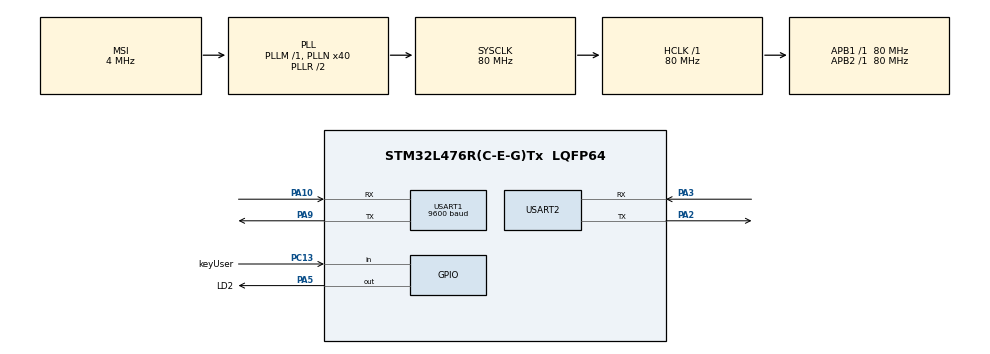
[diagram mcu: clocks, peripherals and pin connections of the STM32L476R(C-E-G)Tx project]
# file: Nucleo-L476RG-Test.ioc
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ADC1.Channel-0\#ChannelRegularConversion=ADC_CHANNEL_TEMPSENSOR
ADC1.ClockPrescaler=ADC_CLOCK_ASYNC_DIV1
ADC1.ContinuousConvMode=ENABLE
ADC1.DMAContinuousRequests=ENABLE
ADC1.DataAlign=ADC_DATAALIGN_RIGHT
ADC1.DiscontinuousConvMode=DISABLE
ADC1.EOCSelection=ADC_EOC_SINGLE_CONV
ADC1.EnableAnalogWatchDog1=false
ADC1.EnableAnalogWatchDog2=false
ADC1.EnableAnalogWatchDog3=false
ADC1.EnableInjectedConversion=DISABLE
ADC1.EnableRegularConversion=ENABLE
ADC1.ExternalTrigConv=ADC_SOFTWARE_START
ADC1.ExternalTrigConvEdge=ADC_EXTERNALTRIGCONVEDGE_NONE
ADC1.LowPowerAutoWait=DISABLE
ADC1.NbrOfConversion=1
ADC1.NbrOfConversionFlag=1
ADC1.OffsetNumber-0\#ChannelRegularConversion=ADC_OFFSET_NONE
ADC1.Overrun=ADC_OVR_DATA_PRESERVED
ADC1.OversamplingMode=DISABLE
ADC1.Rank-0\#ChannelRegularConversion=1
ADC1.Resolution=ADC_RESOLUTION_12B
ADC1.SamplingTime-0\#ChannelRegularConversion=ADC_SAMPLETIME_47CYCLES_5
ADC1.ScanConvMode=ADC_SCAN_DISABLE
ADC1.master=1
Dma.ADC1.0.Direction=DMA_PERIPH_TO_MEMORY
Dma.ADC1.0.Instance=DMA1_Channel1
Dma.ADC1.0.MemDataAlignment=DMA_MDATAALIGN_HALFWORD
Dma.ADC1.0.MemInc=DMA_MINC_DISABLE
Dma.ADC1.0.Mode=DMA_CIRCULAR
Dma.ADC1.0.PeriphDataAlignment=DMA_PDATAALIGN_HALFWORD
Dma.ADC1.0.PeriphInc=DMA_PINC_DISABLE
Dma.ADC1.0.Priority=DMA_PRIORITY_LOW
Dma.Request0=ADC1
Mcu.Family=STM32L4
Mcu.Name=STM32L476R(C-E-G)Tx
Mcu.Package=LQFP64
NVIC.DMA1_Channel1_IRQn=true\:0\:0\:false\:false\:true
NVIC.PriorityGroup=NVIC_PRIORITYGROUP_4
NVIC.TIM6_DAC_IRQn=true\:0\:0\:false\:false\:true
NVIC.TIM7_IRQn=true\:0\:0\:false\:false\:true
NVIC.USART1_IRQn=true\:0\:0\:false\:false\:true
PA10.Mode=Asynchronous
PA10.Signal=USART1_RX
PA2.Mode=Asynchronous
PA2.Signal=USART2_TX
PA3.Mode=Asynchronous
PA3.Signal=USART2_RX
PA5.GPIO_Label=LD2
PA5.GPIO_Speed=GPIO_SPEED_FREQ_VERY_HIGH
PA5.Signal=GPIO_Output
PA9.Mode=Asynchronous
PA9.Signal=USART1_TX
PC13.GPIO_Label=keyUser
PC13.GPIO_PuPd=GPIO_PULLUP
PC13.Signal=GPIO_Input
ProjectManager.HeapSize=0x4000
ProjectManager.StackSize=0x4000
ProjectManager.TargetToolchain=EWARM
RCC.ADCFreq_Value=32000000
RCC.AHBFreq_Value=80000000
RCC.APB1Freq_Value=80000000
RCC.APB1TimFreq_Value=80000000
RCC.APB2Freq_Value=80000000
RCC.APB2TimFreq_Value=80000000
RCC.CortexFreq_Value=80000000
RCC.HCLKFreq_Value=80000000
RCC.HSE_VALUE=8000000
RCC.HSI_VALUE=16000000
RCC.LSE_VALUE=32768
RCC.MSI_VALUE=4000000
RCC.PLLN=40
RCC.PLLSAI1N=16
RCC.SYSCLKFreq_VALUE=80000000
RCC.SYSCLKSource=RCC_SYSCLKSOURCE_PLLCLK
RCC.USBFreq_Value=32000000
RCC.VCOOutputFreq_Value=160000000
TIM6.Period=999
TIM6.Prescaler=79
TIM7.Period=999
TIM7.Prescaler=79
USART1.BaudRate=9600
USART1.WordLength=UART_WORDLENGTH_8B
USART2.WordLength=UART_WORDLENGTH_8B
VP_ADC1_TempSens_Input.Mode=IN-TempSens
VP_TIM6_VS_ClockSourceINT.Mode=Enable_Timer
VP_TIM7_VS_ClockSourceINT.Mode=Enable_Timer
board=Nucleo-L476RG-Test

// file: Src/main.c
/**
  ******************************************************************************
  * File Name          : main.c
  * Description        : Main program body
  ******************************************************************************
  *
  * COPYRIGHT(c) 2017 STMicroelectronics
  *
  * Redistribution and use in source and binary forms, with or without modification,
  * are permitted provided that the following conditions are met:
  *   1. Redistributions of source code must retain the above copyright notice,
  *      this list of conditions and the following disclaimer.
  *   2. Redistributions in binary form must reproduce the above copyright notice,
  *      this list of conditions and the following disclaimer in the documentation
  *      and/or other materials provided with the distribution.
  *   3. Neither the name of STMicroelectronics nor the names of its contributors
  *      may be used to endorse or promote products derived from this software
  *      without specific prior written permission.
  *
  * THIS SOFTWARE IS PROVIDED BY THE COPYRIGHT HOLDERS AND CONTRIBUTORS "AS IS"
  * AND ANY EXPRESS OR IMPLIED WARRANTIES, INCLUDING, BUT NOT LIMITED TO, THE
  * IMPLIED WARRANTIES OF MERCHANTABILITY AND FITNESS FOR A PARTICULAR PURPOSE ARE
  * DISCLAIMED. IN NO EVENT SHALL THE COPYRIGHT HOLDER OR CONTRIBUTORS BE LIABLE
  * FOR ANY DIRECT, INDIRECT, INCIDENTAL, SPECIAL, EXEMPLARY, OR CONSEQUENTIAL
  * DAMAGES (INCLUDING, BUT NOT LIMITED TO, PROCUREMENT OF SUBSTITUTE GOODS OR
  * SERVICES; LOSS OF USE, DATA, OR PROFITS; OR BUSINESS INTERRUPTION) HOWEVER
  * CAUSED AND ON ANY THEORY OF LIABILITY, WHETHER IN CONTRACT, STRICT LIABILITY,
  * OR TORT (INCLUDING NEGLIGENCE OR OTHERWISE) ARISING IN ANY WAY OUT OF THE USE
  * OF THIS SOFTWARE, EVEN IF ADVISED OF THE POSSIBILITY OF SUCH DAMAGE.
  *
  ******************************************************************************
  */
#include "main.h"
#include "stm32l4xx_hal.h"
#include "adc.h"
#include "dma.h"
#include "tim.h"
#include "usart.h"
#include "gpio.h"

/* USER CODE BEGIN Includes */
#include "gizwits_product.h"

#include "hal_key.h"

/* USER CODE END Includes */

/* USER CODE BEGIN PV */
/* Private variables ---------------------------------------------------------*/
#define TEMP_REFRESH_PERIOD   1000    /* Internal temperature refresh period */
#define MAX_CONVERTED_VALUE   4095    /* Max converted value */
#define AMBIENT_TEMP            25    /* Ambient Temperature */
#define VSENS_AT_AMBIENT_TEMP  760    /* VSENSE value (mv) at ambient temperature */
#define AVG_SLOPE               25    /* Avg_Solpe multiply by 10 */
#define VREF                  3300
/* Variable used to get converted value */
uint32_t ConvertedValue = 0;
int32_t JTemp = 0;

/** 用户区当前设备状态结构体*/
dataPoint_t currentDataPoint;
uint8_t RxData;
/**@name 按键相关定义
* @{
*/
#define GPIO_KEY_NUM 1                                  ///< 定义按键成员总数
keyTypedef_t singleKey[GPIO_KEY_NUM];                   ///< 定义单个按键成员数组指针
keysTypedef_t keys;                                     ///< 定义总的按键模块结构体指针

/* USER CODE END PV */

void SystemClock_Config(void);
void Error_Handler(void);

/* USER CODE BEGIN PFP */
/* Private function prototypes -----------------------------------------------*/

/* USER CODE END PFP */

/* USER CODE BEGIN 0 */
uint8_t LedStatus=0;
uint32_t StartTime=0;
/**
* 用户初始化函数

* 在该函数中完成了外设驱动初始化以及用户相关数据的初始
* @param none
* @return none
* @note 开发者可在此函数内添加新的驱动初始及状态初始化
*/
void userInit(void)
{
   memset((uint8_t*)&currentDataPoint, 0, sizeof(dataPoint_t));
}

/**
* 用户数据获取

* 此处需要用户实现除可写数据点之外所有传感器数据的采集,可自行定义采集频率和设计数据过滤算法
* @param none
* @return none
*/
void userHandle(void)
{
    /*
    currentDataPoint.valueChipTemp = ;//Add Sensor Data Collection
    currentDataPoint.valueFault_LED = ;//Add Sensor Data Collection
    currentDataPoint.valueFault_Tem = ;//Add Sensor Data Collection

    */
  static uint32_t cnt = 0;

  if((gizGetTimerCount()-cnt) > 2000) //每隔2000ms读取一次STM32芯片内部温度
  {
    currentDataPoint.valueChipTemp = ((float)((((float)ConvertedValue * VREF)/MAX_CONVERTED_VALUE) - VSENS_AT_AMBIENT_TEMP) * 10 / AVG_SLOPE) + AMBIENT_TEMP;
    cnt = gizGetTimerCount();
  }
  currentDataPoint.valueFault_LED = 0;//Add Sensor Data Collection
  currentDataPoint.valueFault_Tem = 0;//Add Sensor Data Collection

}
/**
* key2按键短按处理
* @param none
* @return none
*/
void keyShortPress(void)
{
    printf("KEY2 PRESS ,Soft AP mode\n");
    gizwitsSetMode(WIFI_SOFTAP_MODE);
}

/**
* key2按键长按处理
* @param none
* @return none
*/
void keyLongPress(void)
{
    //AirLink mode
    printf("KEY2 PRESS LONG ,AirLink mode\n");
    LD2_ON();
    gizwitsSetMode(WIFI_AIRLINK_MODE);
}

/**
* 按键初始化
* @param none
* @return none
*/
void keyInit(void)
{
    singleKey[0] = keyInitOne(keyUser_GPIO_Port, keyUser_Pin,keyShortPress, keyLongPress);
    keys.singleKey = (keyTypedef_t *)&singleKey;
    keyParaInit(&keys);//按键初始化
}
/* USER CODE END 0 */

int main(void)
{

  /* MCU Configuration----------------------------------------------------------*/

  /* Reset of all peripherals, Initializes the Flash interface and the Systick. */
  HAL_Init();

  /* Configure the system clock */
  SystemClock_Config();

  /* Initialize all configured peripherals */
  MX_GPIO_Init();
  MX_DMA_Init();
  MX_USART2_UART_Init();
  MX_TIM6_Init();
  MX_TIM7_Init();
  MX_ADC1_Init();
  MX_USART1_UART_Init();

  /* USER CODE BEGIN 2 */
  printf("Hello STM32L476RG\r\n");

  userInit();
  keyInit();
  gizwitsInit();
  printf("MCU Init Success \n");

  if(HAL_ADC_Start_DMA(&hadc1, (uint32_t*)&ConvertedValue, 1)!=HAL_OK)
  {
    Error_Handler();
  }
  /* USER CODE END 2 */

  /* Infinite loop */
  while (1)
  {

  /* USER CODE BEGIN 3 */

    userHandle();
    gizwitsHandle((dataPoint_t *)&currentDataPoint);
  }
  /* USER CODE END 3 */

}

/** System Clock Configuration
*/
void SystemClock_Config(void)
{

  RCC_OscInitTypeDef RCC_OscInitStruct;
  RCC_ClkInitTypeDef RCC_ClkInitStruct;
  RCC_PeriphCLKInitTypeDef PeriphClkInit;

    /**Initializes the CPU, AHB and APB busses clocks
    */
  RCC_OscInitStruct.OscillatorType = RCC_OSCILLATORTYPE_MSI;
  RCC_OscInitStruct.MSIState = RCC_MSI_ON;
  RCC_OscInitStruct.MSICalibrationValue = 0;
  RCC_OscInitStruct.MSIClockRange = RCC_MSIRANGE_6;
  RCC_OscInitStruct.PLL.PLLState = RCC_PLL_ON;
  RCC_OscInitStruct.PLL.PLLSource = RCC_PLLSOURCE_MSI;
  RCC_OscInitStruct.PLL.PLLM = 1;
  RCC_OscInitStruct.PLL.PLLN = 40;
  RCC_OscInitStruct.PLL.PLLP = RCC_PLLP_DIV7;
  RCC_OscInitStruct.PLL.PLLQ = RCC_PLLQ_DIV2;
  RCC_OscInitStruct.PLL.PLLR = RCC_PLLR_DIV2;
  if (HAL_RCC_OscConfig(&RCC_OscInitStruct) != HAL_OK)
  {
    Error_Handler();
  }

    /**Initializes the CPU, AHB and APB busses clocks
    */
  RCC_ClkInitStruct.ClockType = RCC_CLOCKTYPE_HCLK|RCC_CLOCKTYPE_SYSCLK
                              |RCC_CLOCKTYPE_PCLK1|RCC_CLOCKTYPE_PCLK2;
  RCC_ClkInitStruct.SYSCLKSource = RCC_SYSCLKSOURCE_PLLCLK;
  RCC_ClkInitStruct.AHBCLKDivider = RCC_SYSCLK_DIV1;
  RCC_ClkInitStruct.APB1CLKDivider = RCC_HCLK_DIV1;
  RCC_ClkInitStruct.APB2CLKDivider = RCC_HCLK_DIV1;

  if (HAL_RCC_ClockConfig(&RCC_ClkInitStruct, FLASH_LATENCY_4) != HAL_OK)
  {
    Error_Handler();
  }

  PeriphClkInit.PeriphClockSelection = RCC_PERIPHCLK_USART1|RCC_PERIPHCLK_USART2
                              |RCC_PERIPHCLK_ADC;
  PeriphClkInit.Usart1ClockSelection = RCC_USART1CLKSOURCE_PCLK2;
  PeriphClkInit.Usart2ClockSelection = RCC_USART2CLKSOURCE_PCLK1;
  PeriphClkInit.AdcClockSelection = RCC_ADCCLKSOURCE_PLLSAI1;
  PeriphClkInit.PLLSAI1.PLLSAI1Source = RCC_PLLSOURCE_MSI;
  PeriphClkInit.PLLSAI1.PLLSAI1M = 1;
  PeriphClkInit.PLLSAI1.PLLSAI1N = 16;
  PeriphClkInit.PLLSAI1.PLLSAI1P = RCC_PLLP_DIV7;
  PeriphClkInit.PLLSAI1.PLLSAI1Q = RCC_PLLQ_DIV2;
  PeriphClkInit.PLLSAI1.PLLSAI1R = RCC_PLLR_DIV2;
  PeriphClkInit.PLLSAI1.PLLSAI1ClockOut = RCC_PLLSAI1_ADC1CLK;
  if (HAL_RCCEx_PeriphCLKConfig(&PeriphClkInit) != HAL_OK)
  {
    Error_Handler();
  }

    /**Configure the main internal regulator output voltage
    */
  if (HAL_PWREx_ControlVoltageScaling(PWR_REGULATOR_VOLTAGE_SCALE1) != HAL_OK)
  {
    Error_Handler();
  }

    /**Configure the Systick interrupt time
    */
  HAL_SYSTICK_Config(HAL_RCC_GetHCLKFreq()/1000);

    /**Configure the Systick
    */
  HAL_SYSTICK_CLKSourceConfig(SYSTICK_CLKSOURCE_HCLK);

  /* SysTick_IRQn interrupt configuration */
  HAL_NVIC_SetPriority(SysTick_IRQn, 0, 0);
}

void Error_Handler(void)
{
  /* USER CODE BEGIN Error_Handler */
  /* User can add his own implementation to report the HAL error return state */
  while(1)
  {
    LD2_Toggle();
    HAL_Delay(200);
  }
  /* USER CODE END Error_Handler */
}

/************************ (C) COPYRIGHT STMicroelectronics *****END OF FILE****/
